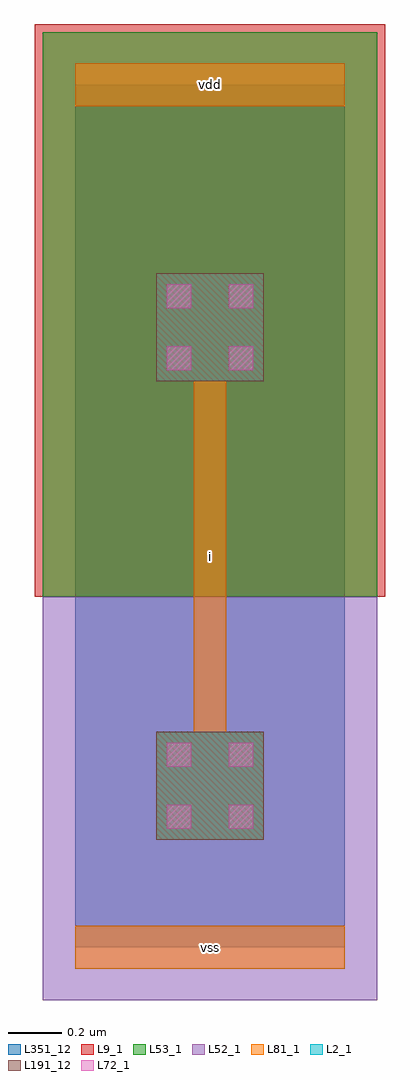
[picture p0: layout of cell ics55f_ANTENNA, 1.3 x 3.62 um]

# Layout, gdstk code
import gdstk
lib = gdstk.Library(unit=1e-6, precision=1e-09)
def R(c, l, rs):  # rectangles x0, y0, x1, y1
    for r in rs: c.add(gdstk.rectangle(r[:2], r[2:], *l))
L2_1 = (2, 1)
L9_1 = (9, 1)
L52_1 = (52, 1)
L53_1 = (53, 1)
L72_1 = (72, 1)
L81_1 = (81, 1)
L191_12 = (191, 12)
L351_12 = (351, 12)

ics55f_antenna = lib.new_cell('ics55f_ANTENNA')
R(ics55f_antenna, L2_1, [(0.3,0.4,0.7,0.8), (0.3,2.1,0.7,2.5)])
R(ics55f_antenna, L9_1, [(-0.15,1.3,1.15,3.425)])
R(ics55f_antenna, L52_1, [(-0.12,-0.195,1.12,1.3)])
R(ics55f_antenna, L53_1, [(-0.12,1.3,1.12,3.395)])
R(ics55f_antenna, L72_1, [(0.34,0.44,0.43,0.53), (0.57,0.44,0.66,0.53), (0.34,0.67,0.43,0.76), (0.57,0.67,0.66,0.76), (0.34,2.14,0.43,2.23), (0.57,2.14,0.66,2.23), (0.34,2.37,0.43,2.46), (0.57,2.37,0.66,2.46)])
R(ics55f_antenna, L81_1, [(0,-0.08,1,0.08), (0.3,0.4,0.7,0.8), (0.44,0.6,0.56,2.3), (0.3,2.1,0.7,2.5), (0,3.12,1,3.28)])
R(ics55f_antenna, L191_12, [(0.3,0.4,0.7,0.8), (0.3,2.1,0.7,2.5)])
R(ics55f_antenna, L351_12, [(0,0,1,3.2)])
ics55f_antenna.add(gdstk.Label('vss', (0.5,0), layer=81, texttype=6))
ics55f_antenna.add(gdstk.Label('vdd', (0.5,3.2), layer=81, texttype=6))
ics55f_antenna.add(gdstk.Label('i', (0.5,1.45), layer=81, texttype=6))

lib.write_gds('ics55f_ANTENNA.gds')
